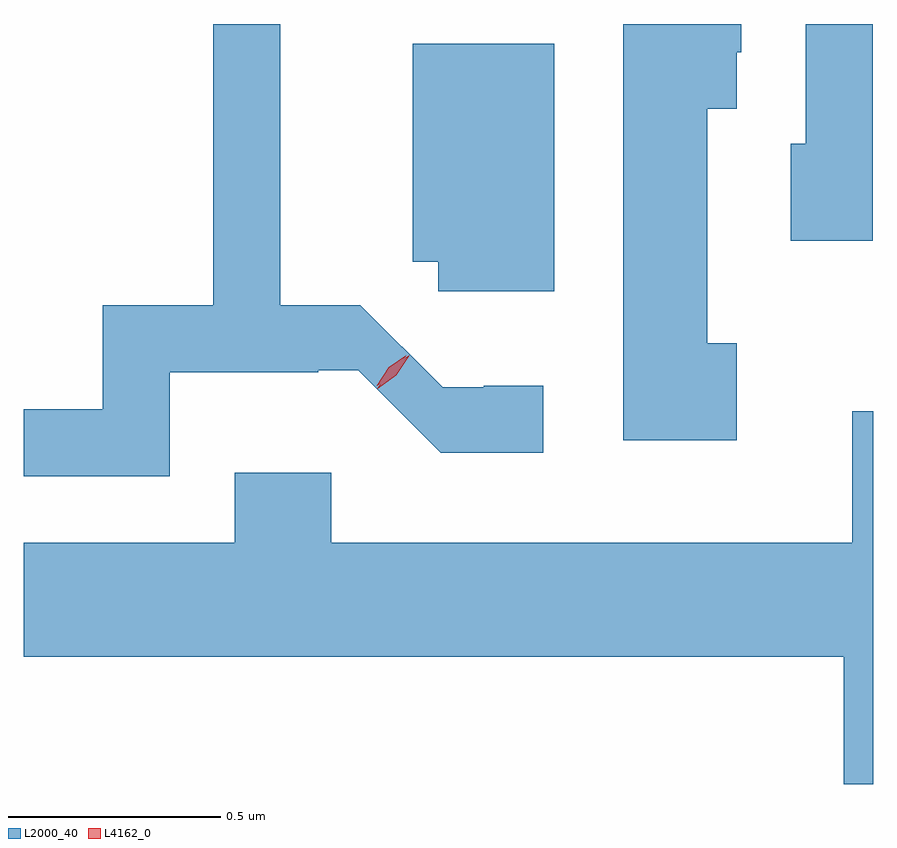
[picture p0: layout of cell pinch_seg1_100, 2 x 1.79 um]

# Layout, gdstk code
import gdstk
lib = gdstk.Library(unit=1e-6, precision=1e-09)
def P(c, l, *ps):  # polygons
    for p in ps: c.add(gdstk.Polygon(p, *l))
L2000_40 = (2000, 40)
L4162_0 = (4162, 0)

pinch_seg1_100 = lib.new_cell('pinch_seg1_100')
P(pinch_seg1_100, L2000_40, [(194.844,864.794),(194.774,864.794),(194.774,865.346),(194.844,865.346),(194.844,865.48),(194.854,865.48),(194.854,865.546),(194.576,865.546),(194.576,864.566),(194.844,864.566)],
  [(195.164,865.546),(195.006,865.546),(195.006,865.264),(194.971,865.264),(194.971,865.036),(195.164,865.036)],
  [(193.509,864.726),(193.858,864.726),(193.858,864.73),(193.953,864.73),(194.147,864.536),(194.388,864.536),(194.388,864.694),(194.248,864.694),(194.248,864.69),(194.151,864.69),(193.957,864.884),(193.769,864.884),(193.769,865.546),(193.611,865.546),(193.611,864.884),(193.351,864.884),(193.351,864.639),(193.165,864.639),(193.165,864.481),(193.509,864.481)],
  [(194.414,865.499),(194.081,865.499),(194.081,864.986),(194.141,864.986),(194.141,864.916),(194.414,864.916)],
  [(195.165,864.634),(195.116,864.634),(195.116,864.324),(193.889,864.324),(193.889,864.489),(193.661,864.489),(193.661,864.324),(193.165,864.324),(193.165,864.056),(195.096,864.056),(195.096,863.756),(195.165,863.756)])
P(pinch_seg1_100, L4162_0, [(193.996,864.694),(193.996,864.694),(194.024,864.737),(194.066,864.766),(194.066,864.766),(194.066,864.766),(194.039,864.723),(193.997,864.694)],
  [(193.997,864.687),(193.997,864.687),(194.028,864.734),(194.072,864.766),(194.073,864.766),(194.073,864.765),(194.042,864.719),(193.998,864.687)])

lib.write_gds('pinch_seg1_100.gds')
